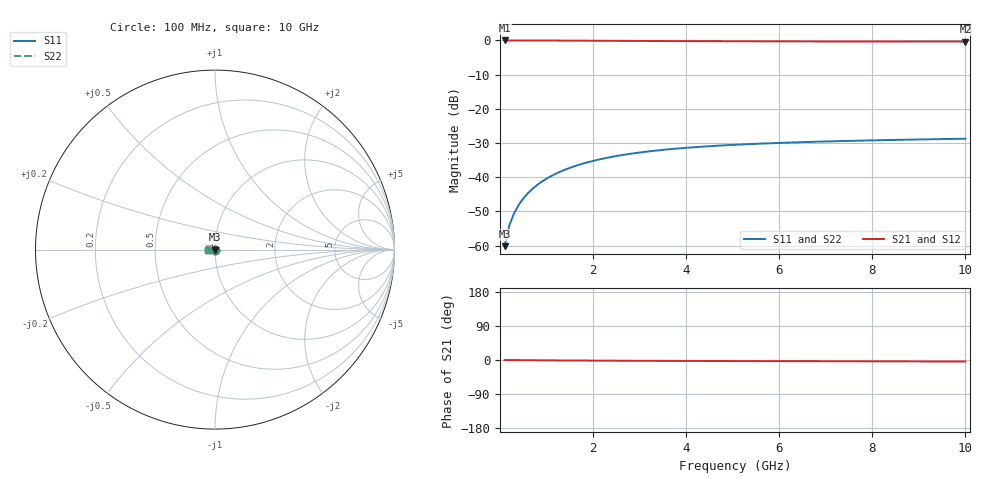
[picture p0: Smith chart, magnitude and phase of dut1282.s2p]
! Touchstone file exported from HFSS 2024.1.0
!  File:  C:/UserFiles/LocalFiles/RDL_TSV_Batchsim/temp_TSV1_1282_1780255326.aedt
!  Generated:  03:27:29 AM Jun  1, 2026
!  Design:  TSV1
!  Project:  temp_TSV1_1282_1780255326
!  Setup:  Setup1
!  Solution:  Sweep
! Variables:
!  dtsv = 10.52um
!  hbump = 3um
!  htsv = 59.83um
!  lrdl = 252.1521522um
!  p = 40
!  p1 = 46.89um
!  t = 500um
!  trdl = 3um
!  wrdl = 24.89489489um
# GHz S MA R 50.000000
! Terminal data exported
! Port[1] = TSV22_T1
! Port[2] = TSV22_T2
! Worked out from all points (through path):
!   100 points, 100 MHz to 10 GHz, reference 50 ohm
!   highest |S21| = 0.00 dB at 100 MHz (marker M1); lowest = -0.3 dB at 10 GHz (marker M2)
!   lowest |S11| = -60.1 dB at 100 MHz (marker M3), VSWR 1.00, Z = 50 - j0.0981 ohm
!   |S11| at or under -10 dB: start of sweep to end of sweep
!   |S22| runs from -60.1 to -28.7 dB; largest |S21 - S12| = 3e-15
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0.1  0.0009845 -85.2  0.9999 -0.1  0.9999 -0.1  0.0009845 -85.2
! Gamma 0 0 0 0
! Port Impedance 50 0 50 0
0.2  0.001962 -90.0  0.9998 -0.2  0.9998 -0.2  0.001962 -90.0
0.3  0.002941 -92.7  0.9996 -0.3  0.9996 -0.3  0.002941 -92.7
0.4  0.003917 -94.9  0.9994 -0.4  0.9994 -0.4  0.003917 -94.9
0.5  0.004886 -97.0  0.9991 -0.5  0.9991 -0.5  0.004886 -97.0
0.6  0.005845 -98.9  0.9988 -0.6  0.9988 -0.6  0.005845 -98.9
0.7  0.006791 -100.8  0.9984 -0.7  0.9984 -0.7  0.006791 -100.8
0.8  0.007723 -102.6  0.998 -0.7  0.998 -0.7  0.007723 -102.6
0.9  0.008638 -104.3  0.9975 -0.8  0.9975 -0.8  0.008638 -104.3
1.1  0.01042 -107.7  0.9965 -1.0  0.9965 -1.0  0.01042 -107.7
1.4  0.01293 -112.5  0.9947 -1.2  0.9947 -1.2  0.01293 -112.5
1.6  0.0145 -115.6  0.9934 -1.4  0.9934 -1.4  0.0145 -115.6
1.8  0.01597 -118.5  0.992 -1.5  0.992 -1.5  0.01597 -118.5
2.1  0.01802 -122.6  0.9899 -1.7  0.9899 -1.7  0.01802 -122.6
2.5  0.02043 -127.7  0.9871 -1.9  0.9871 -1.9  0.02043 -127.7
2.9  0.02253 -132.4  0.9845 -2.1  0.9845 -2.1  0.02253 -132.4
3.4  0.02476 -137.6  0.9813 -2.3  0.9813 -2.3  0.02476 -137.6
4.2  0.02758 -144.8  0.9771 -2.5  0.9771 -2.5  0.02758 -144.8
5.1  0.02998 -151.5  0.9732 -2.8  0.9732 -2.8  0.02998 -151.5
6.7  0.03295 -161.1  0.9681 -3.2  0.9681 -3.2  0.03295 -161.1
8.4  0.03509 -169.2  0.9645 -3.6  0.9645 -3.6  0.03509 -169.2
10  0.03661 -175.4  0.9622 -4.0  0.9622 -4.0  0.03661 -175.4
